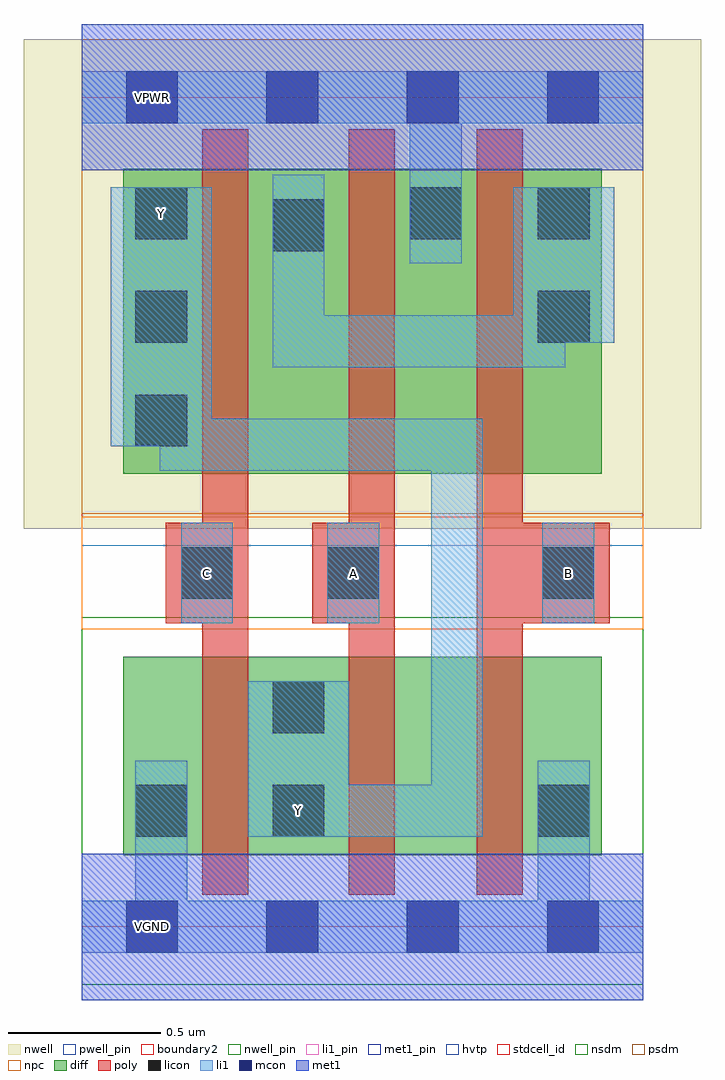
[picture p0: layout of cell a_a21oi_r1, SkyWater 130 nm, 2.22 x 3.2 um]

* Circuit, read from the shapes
.subckt a_a21oi_r1 A B C VGND VNB VPB VPWR Y
XM1 Y C VGND VNB sky130_fd_pr__nfet_01v8 w=0.65 l=0.15
XM2 n1 A Y VNB sky130_fd_pr__nfet_01v8 w=0.65 l=0.15
XM3 VGND B n1 VNB sky130_fd_pr__nfet_01v8 w=0.65 l=0.15
XM4 n2 C Y VPB sky130_fd_pr__pfet_01v8_hvt w=1 l=0.15
XM5 VPWR A n2 VPB sky130_fd_pr__pfet_01v8_hvt w=1 l=0.15
XM6 n2 B VPWR VPB sky130_fd_pr__pfet_01v8_hvt w=1 l=0.15
.ends

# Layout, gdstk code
import gdstk
lib = gdstk.Library(unit=1e-6, precision=1e-09)
def R(c, l, rs):  # rectangles x0, y0, x1, y1
    for r in rs: c.add(gdstk.rectangle(r[:2], r[2:], *l))
def A(c, l, x, y, w, h, nx, ny, dx, dy):  # array of equal rectangles
    R(c, l, [(x+i*dx, y+j*dy, x+i*dx+w, y+j*dy+h) for i in range(nx) for j in range(ny)])
nwell_pin = (64, 16)
nwell = (64, 20)
diff = (65, 20)
poly = (66, 20)
licon = (66, 44)
li1_pin = (67, 16)
li1 = (67, 20)
mcon = (67, 44)
met1_pin = (68, 16)
met1 = (68, 20)
hvtp = (78, 44)
stdcell_id = (81, 4)
nsdm = (93, 44)
psdm = (94, 20)
npc = (95, 20)
pwell_pin = (122, 16)
boundary2 = (236, 0)

a_a21oi_r1 = lib.new_cell('a_a21oi_r1')
R(a_a21oi_r1, nwell_pin, [(0.145,2.635,0.315,2.805)])
R(a_a21oi_r1, nwell, [(-0.19,1.305,2.03,2.91)])
R(a_a21oi_r1, diff, [(0.135,0.235,0.71,0.885), (0.71,0.235,1.16,0.885), (1.16,0.235,1.705,0.885), (0.135,1.485,0.71,2.485), (0.71,1.485,1.16,2.485), (1.16,1.485,1.705,2.485)])
R(a_a21oi_r1, poly, [(0.395,0.105,0.545,2.615), (0.875,0.105,1.025,2.615), (1.295,0.105,1.445,2.615), (0.275,0.995,0.545,1.325), (0.755,0.995,1.025,1.325), (1.295,0.995,1.73,1.325)])
A(a_a21oi_r1, licon, 0.175, 1.575, 0.17, 0.17, 1, 3, 0, 0.34)
R(a_a21oi_r1, licon, [(0.175,0.295,0.345,0.465), (0.625,0.295,0.795,0.465), (1.495,0.295,1.665,0.465), (0.625,0.635,0.795,0.805), (0.325,1.075,0.495,1.245), (0.805,1.075,0.975,1.245), (1.51,1.075,1.68,1.245), (1.495,1.915,1.665,2.085), (0.625,2.215,0.795,2.385), (1.075,2.255,1.245,2.425), (1.495,2.255,1.665,2.425)])
R(a_a21oi_r1, li1_pin, [(0.625,0.295,0.795,0.465), (0.325,1.075,0.495,1.245), (0.805,1.075,0.975,1.245), (1.51,1.075,1.68,1.245), (0.175,2.255,0.345,2.425)])
R(a_a21oi_r1, li1, [(0,-0.085,1.84,0.085), (0.175,-0.085,0.345,0.545), (1.495,-0.085,1.665,0.545), (0.545,0.295,0.875,0.465), (0.545,0.295,0.875,0.805), (0.705,0.295,1.315,0.465), (1.145,0.295,1.315,1.665), (0.325,0.995,0.495,1.325), (0.805,0.995,0.975,1.325), (1.51,0.995,1.68,1.325), (0.255,1.495,1.315,1.665), (0.255,1.495,0.425,2.425), (0.095,1.575,0.425,2.085), (0.625,1.835,0.795,2.305), (0.625,1.835,1.585,2.005), (1.415,1.835,1.585,2.425), (0.095,1.915,0.425,2.425), (1.415,1.915,1.745,2.425), (0.625,2.005,0.795,2.135), (0.625,2.005,0.795,2.135), (0.625,2.005,0.795,2.135), (0.625,2.005,0.795,2.135), (0.625,2.135,0.795,2.465), (1.075,2.175,1.245,2.805), (0.095,2.255,0.425,2.425), (1.415,2.255,1.745,2.425), (0,2.635,1.84,2.805)])
A(a_a21oi_r1, mcon, 0.145, -0.085, 0.17, 0.17, 4, 2, 0.46, 2.72)
R(a_a21oi_r1, met1_pin, [(0.145,-0.085,0.315,0.085), (0.145,2.635,0.315,2.805)])
R(a_a21oi_r1, met1, [(0,-0.24,1.84,0.24), (0,2.48,1.84,2.96)])
R(a_a21oi_r1, hvtp, [(0,1.25,1.84,2.72)])
R(a_a21oi_r1, stdcell_id, [(0,0,1.84,2.72)])
R(a_a21oi_r1, nsdm, [(0,-0.19,1.84,1.015)])
R(a_a21oi_r1, psdm, [(0,1.355,1.84,2.91)])
R(a_a21oi_r1, npc, [(0,0.975,1.84,1.345)])
R(a_a21oi_r1, pwell_pin, [(0.145,-0.085,0.315,0.085)])
R(a_a21oi_r1, boundary2, [(0,0,1.84,2.72)])
a_a21oi_r1.add(gdstk.Label('A', (0.89,1.16), layer=67, texttype=5))
a_a21oi_r1.add(gdstk.Label('B', (1.595,1.16), layer=67, texttype=5))
a_a21oi_r1.add(gdstk.Label('C', (0.41,1.16), layer=67, texttype=5))
a_a21oi_r1.add(gdstk.Label('Y', (0.71,0.38), layer=67, texttype=5))
a_a21oi_r1.add(gdstk.Label('Y', (0.26,2.34), layer=67, texttype=5))
a_a21oi_r1.add(gdstk.Label('VGND', (0.23,0), layer=68, texttype=5))
a_a21oi_r1.add(gdstk.Label('VPWR', (0.23,2.72), layer=68, texttype=5))
a_a21oi_r1.add(gdstk.Label('VPB', (0.23,2.72), layer=64, texttype=5))
a_a21oi_r1.add(gdstk.Label('VNB', (0.23,0), layer=64, texttype=59))

lib.write_gds('a_a21oi_r1.gds')
